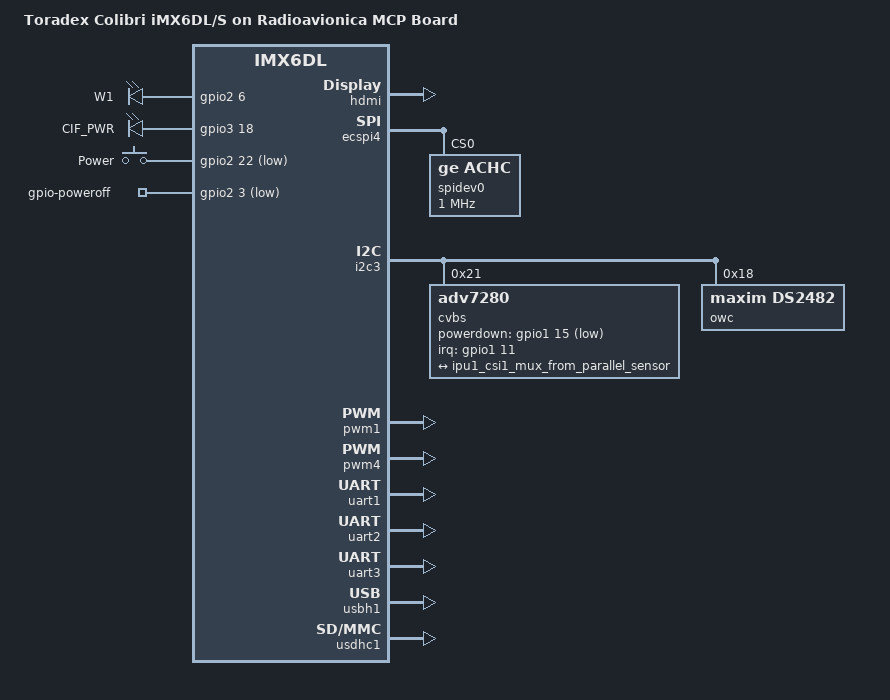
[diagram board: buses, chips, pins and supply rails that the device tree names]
/*
 * Copyright 2014-2016 Toradex AG
 * Copyright 2012 Freescale Semiconductor, Inc.
 * Copyright 2011 Linaro Ltd.
 *
 * This file is dual-licensed: you can use it either under the terms
 * of the GPL or the X11 license, at your option. Note that this dual
 * licensing only applies to this file, and not this project as a
 * whole.
 *
 *  a) This file is free software; you can redistribute it and/or
 *     modify it under the terms of the GNU General Public License
 *     version 2 as published by the Free Software Foundation.
 *
 *     This file is distributed in the hope that it will be useful
 *     but WITHOUT ANY WARRANTY; without even the implied warranty of
 *     MERCHANTABILITY or FITNESS FOR A PARTICULAR PURPOSE.  See the
 *     GNU General Public License for more details.
 *
 * Or, alternatively
 *
 *  b) Permission is hereby granted, free of charge, to any person
 *     obtaining a copy of this software and associated documentation
 *     files (the "Software"), to deal in the Software without
 *     restriction, including without limitation the rights to use
 *     copy, modify, merge, publish, distribute, sublicense, and/or
 *     sell copies of the Software, and to permit persons to whom the
 *     Software is furnished to do so, subject to the following
 *     conditions:
 *
 *     The above copyright notice and this permission notice shall be
 *     included in all copies or substantial portions of the Software.
 *
 *     THE SOFTWARE IS PROVIDED , WITHOUT WARRANTY OF ANY KIND
 *     EXPRESS OR IMPLIED, INCLUDING BUT NOT LIMITED TO THE WARRANTIES
 *     OF MERCHANTABILITY, FITNESS FOR A PARTICULAR PURPOSE AND
 *     NONINFRINGEMENT. IN NO EVENT SHALL THE AUTHORS OR COPYRIGHT
 *     HOLDERS BE LIABLE FOR ANY CLAIM, DAMAGES OR OTHER LIABILITY
 *     WHETHER IN AN ACTION OF CONTRACT, TORT OR OTHERWISE, ARISING
 *     FROM, OUT OF OR IN CONNECTION WITH THE SOFTWARE OR THE USE OR
 *     OTHER DEALINGS IN THE SOFTWARE.
 */

/dts-v1/;

#include <dt-bindings/input/input.h>
#include <dt-bindings/interrupt-controller/irq.h>
#include "imx6dl.dtsi"
#include "imx6qdl-colibri-ravion.dtsi"

/ {
	model = "Toradex Colibri iMX6DL/S on Radioavionica MCP Board";
	compatible = "toradex,mcp", "toradex,colibri_imx6dl-eval",
		"toradex,colibri_imx6dl", "fsl,imx6dl";

	aliases {
		i2c0 = &i2c2;
		i2c1 = &i2c3;
	};

	aliases {
		rtc0 = &snvs_rtc;
	};

	gpio-leds {
		compatible = "gpio-leds";
		pinctrl-names = "default";
		pinctrl-0 = <&pinctrl_gpio_leds>;

		w1 {
			label = "W1";
			gpios = <&gpio2 6 GPIO_ACTIVE_HIGH>;
			default-state = "on";
		};

		cif {
			label = "CIF_PWR";
			gpios = <&gpio3 18 GPIO_ACTIVE_HIGH>;
			default-state = "on";
		};
	};

	gpio-keys {
		compatible = "gpio-keys";
		pinctrl-names = "default";
		pinctrl-0 = <&pinctrl_gpio_keys>;

		power {
			label = "Power";
			gpios = <&gpio2 22 GPIO_ACTIVE_LOW>; /* SODIMM 45 */
			linux,code = <KEY_POWER>;
			debounce-interval = <100>;
			wakeup-source;
		};
	};

	gpio-poweroff {
		pinctrl-names = "default";
		pinctrl-0 = <&pinctrl_gpio_poweroff>;
		compatible = "gpio-poweroff";
		gpios = <&gpio2 3 GPIO_ACTIVE_LOW>;
	};
};

&hdmi {	status = "okay";	};

/* Colibri SSP */
&ecspi4 {
	status = "okay";

	spidev0: spi@0 {
		reg = <0>;
		spi-max-frequency = <1000000>;
		 /* not allowed compatible = "spidev", so set allowed */
		compatible = "ge,achc";
		status = "okay";
	};
};


/*
 * Colibri I2C: I2C3_SDA/SCL on SODIMM 194/196 (e.g. RTC on carrier board)
 */
&i2c3 {
	status = "okay";

	/* DS2782: Legacy Fuel Gauge Controller */
	fgc: ds2782@34 {
		status = "disabled";
		compatible = "ds2782";
		reg = <0x34>;
	};

	i2c_bus_mux: mux@70 { /* I2C bus multiplexer/switch */
		status = "disabled";
		compatible = "nxp,pca9541";
		#address-cells = <1>;
		#size-cells = <0>;
		reg = <0x70>;

		i2c@1 {
			#address-cells = <1>;
			#size-cells = <0>;
			reg = <1>;
			/* Texas Instruments SBS-compatible Fuel Gauge Controller */
			battery1: bq20z655@0b {
				status = "okay";
				compatible = "sbs,sbs-battery";
				reg = <0x0b>;
				sbs,i2c-retry-count = <2>;
				sbs,poll-retry-count = <1>;
			};
		};

		i2c@2 {
			#address-cells = <1>;
			#size-cells = <0>;
			reg = <2>;
			/* Texas Instruments SBS-compatible Fuel Gauge Controller */
			battery2: bq20z655@ob {
				status = "okay";
				compatible = "sbs,sbs-battery";
				reg = <0x0b>;
				sbs,i2c-retry-count = <2>;
				sbs,poll-retry-count = <1>;
			};
		};
	};

	/* Texas Instruments SBS-compatible Fuel Gauge Controller */
	battery0: bq20z655@0b {
		status = "disabled";
		compatible = "sbs,sbs-battery";
		reg = <0x0b>;
		sbs,i2c-retry-count = <2>;
		sbs,poll-retry-count = <1>;
	};

	/* Composite video capture interface */
	cvbs: adv7280@21 {
		reg = <0x21>;
		compatible = "adv7280", "adi,adv7280";
		pinctrl-names = "default";
		pinctrl-0 = <&pinctrl_adv7280>;
		powerdown-gpios = <&gpio1 15 GPIO_ACTIVE_LOW>;
		interrupt-parent = <&gpio1>;
		interrupts = <11 IRQ_TYPE_LEVEL_LOW>;
		status = "okay";

		port {
			adv7280_ep: endpoint {
				remote-endpoint = <&ipu1_csi1_mux_from_parallel_sensor>;
				bus-width = <8>;
			};
		};
	};

	/* DS2484: I2C to OneWire Converter */
	owc: ds2482@18 {
		status = "okay";
		compatible = "maxim,ds2482";
		reg = <0x18>;
	};
};

&ipu1_csi1 {
	pinctrl-names = "default";
	pinctrl-0 = <&pinctrl_ipu1_csi1>;
};

&ipu1_csi1_from_ipu1_csi1_mux {
};

&ipu1_csi1_mux_from_parallel_sensor {
	remote-endpoint = <&adv7280_ep>;
};

/* pwm2 & pwm3 disabled: conflict with parallel camera interface */
&pwm1{	status = "okay";	};
&pwm2{	status = "disabled";	};
&pwm3{	status = "disabled";	};
&pwm4{	status = "okay";	};


&uart1{	status = "okay";	};
&uart2{	status = "okay";	};
&uart3{	status = "okay";	};

&usbh1{	status = "okay";	};

/* Colibri MMC */
&usdhc1{ status = "okay";	};

&weim{	status = "disabled";	};

&iomuxc {
	pinctrl_adv7280: gpio-adv7280 {
		fsl,pins = <
			MX6QDL_PAD_SD2_CMD__GPIO1_IO11	0x0f058 /* PU_22K soDimm 69: CIF_D10/CIF_IRQn */
			MX6QDL_PAD_SD2_DAT0__GPIO1_IO15	0x0f058 /* soDimm 98: CIF_D1/CIF_nPDN */
		>;
	};

	pinctrl_gpio_poweroff: gpio-poweroff {
		fsl,pins = <MX6QDL_PAD_NANDF_D3__GPIO2_IO03 0x0f058>; /* PU_22K */
	};

	pinctrl_gpio_leds: gpio-leds {
		fsl,pins = <
			MX6QDL_PAD_NANDF_D6__GPIO2_IO06	0x0f058 /* PU_22K */
			MX6QDL_PAD_EIM_D18__GPIO3_IO18	0x0f058 /* PU_22K soDimm 77: CIF_D11/CIF_PWR */
		>;
	};
};
